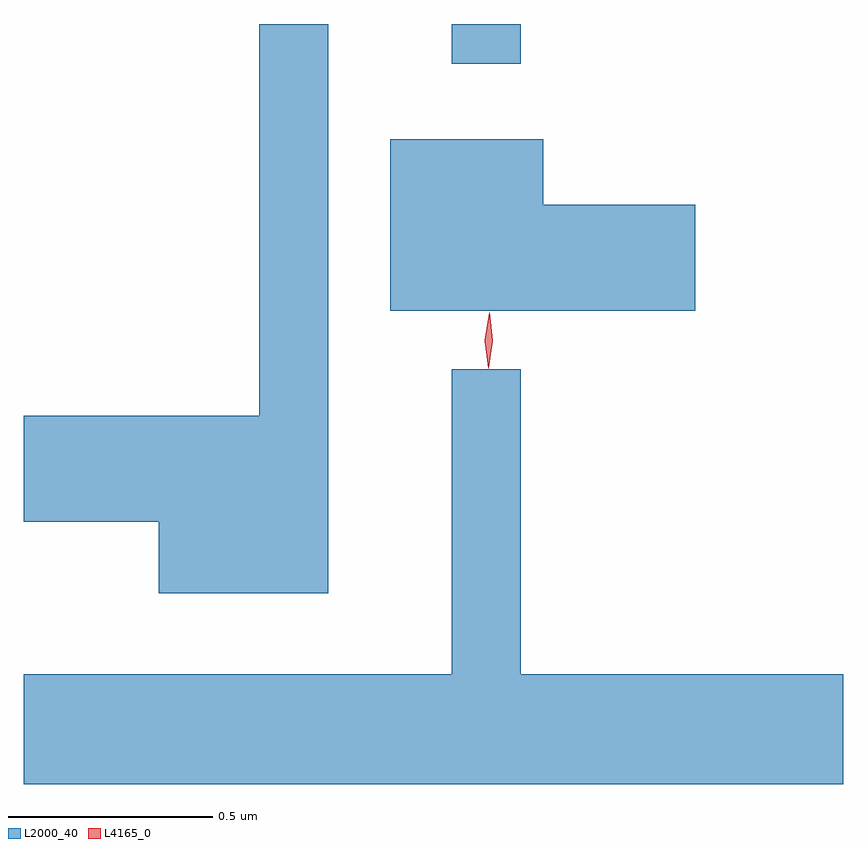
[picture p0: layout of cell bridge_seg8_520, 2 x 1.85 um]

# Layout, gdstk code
import gdstk
lib = gdstk.Library(unit=1e-6, precision=1e-09)
def R(c, l, rs):  # rectangles x0, y0, x1, y1
    for r in rs: c.add(gdstk.rectangle(r[:2], r[2:], *l))
def P(c, l, *ps):  # polygons
    for p in ps: c.add(gdstk.Polygon(p, *l))
L2000_40 = (2000, 40)
L4165_0 = (4165, 0)

bridge_seg8_520 = lib.new_cell('bridge_seg8_520')
R(bridge_seg8_520, L2000_40, [(313.691,1875.913,313.859,1876.01)])
P(bridge_seg8_520, L2000_40, [(313.389,1876.01),(313.221,1876.01),(313.221,1875.054),(312.646,1875.054),(312.646,1874.796),(312.976,1874.796),(312.976,1874.621),(313.389,1874.621)],
  [(314.284,1875.569),(313.914,1875.569),(313.914,1875.729),(313.541,1875.729),(313.541,1875.311),(314.284,1875.311)],
  [(314.646,1874.424),(313.859,1874.424),(313.859,1875.168),(313.691,1875.168),(313.691,1874.424),(312.646,1874.424),(312.646,1874.156),(314.646,1874.156)])
P(bridge_seg8_520, L4165_0, [(313.78,1875.17),(313.78,1875.17),(313.771,1875.238),(313.782,1875.305),(313.782,1875.306),(313.783,1875.305),(313.791,1875.238),(313.781,1875.17)],
  [(313.78,1875.173),(313.78,1875.174),(313.771,1875.236),(313.782,1875.299),(313.782,1875.3),(313.783,1875.299),(313.791,1875.236),(313.781,1875.174)])

lib.write_gds('bridge_seg8_520.gds')
